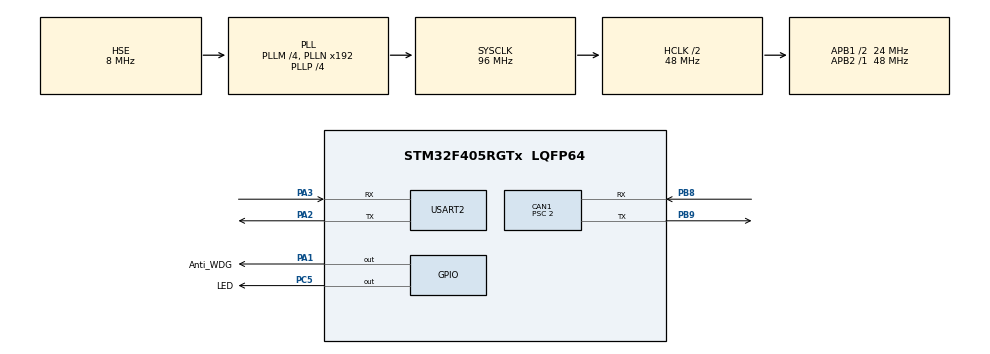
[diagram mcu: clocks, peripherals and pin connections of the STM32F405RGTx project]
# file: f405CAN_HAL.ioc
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CAN1.ABOM=DISABLE
CAN1.AWUM=DISABLE
CAN1.BS1=CAN_BS1_10TQ
CAN1.CalculateBaudRate=1000000
CAN1.CalculateTimeBit=1000
CAN1.CalculateTimeQuantum=83.33333333333333
CAN1.Mode=CAN_MODE_LOOPBACK
CAN1.NART=ENABLE
CAN1.Prescaler=2
Mcu.Family=STM32F4
Mcu.Name=STM32F405RGTx
Mcu.Package=LQFP64
NVIC.CAN1_RX0_IRQn=true\:0\:0\:false\:false\:true\:true\:true\:true
NVIC.CAN1_RX1_IRQn=true\:0\:0\:false\:false\:true\:true\:true\:true
NVIC.CAN1_SCE_IRQn=true\:0\:0\:false\:false\:true\:true\:true\:true
NVIC.CAN1_TX_IRQn=true\:0\:0\:false\:false\:true\:true\:true\:true
NVIC.PriorityGroup=NVIC_PRIORITYGROUP_4
PA1.GPIO_Label=Anti_WDG
PA1.Signal=GPIO_Output
PA13.Mode=Serial_Wire
PA13.Signal=SYS_JTMS-SWDIO
PA14.Mode=Serial_Wire
PA14.Signal=SYS_JTCK-SWCLK
PA2.Mode=Asynchronous
PA2.Signal=USART2_TX
PA3.Mode=Asynchronous
PA3.Signal=USART2_RX
PB8.Mode=CAN_Activate
PB8.Signal=CAN1_RX
PB9.Mode=CAN_Activate
PB9.Signal=CAN1_TX
PC5.GPIO_Label=LED
PC5.Signal=GPIO_Output
PH0-OSC_IN.Mode=HSE-External-Oscillator
PH0-OSC_IN.Signal=RCC_OSC_IN
PH1-OSC_OUT.Mode=HSE-External-Oscillator
PH1-OSC_OUT.Signal=RCC_OSC_OUT
ProjectManager.HeapSize=0x200
ProjectManager.StackSize=0x400
ProjectManager.TargetToolchain=STM32CubeIDE
RCC.48MHZClocksFreq_Value=96000000
RCC.AHBCLKDivider=RCC_SYSCLK_DIV2
RCC.AHBFreq_Value=48000000
RCC.APB1CLKDivider=RCC_HCLK_DIV2
RCC.APB1Freq_Value=24000000
RCC.APB1TimFreq_Value=48000000
RCC.APB2Freq_Value=48000000
RCC.APB2TimFreq_Value=48000000
RCC.CortexFreq_Value=48000000
RCC.HCLKFreq_Value=48000000
RCC.HSE_VALUE=8000000
RCC.HSI_VALUE=16000000
RCC.LSE_VALUE=32768
RCC.PLLM=4
RCC.PLLP=RCC_PLLP_DIV4
RCC.PLLSourceVirtual=RCC_PLLSOURCE_HSE
RCC.SYSCLKFreq_VALUE=96000000
RCC.SYSCLKSource=RCC_SYSCLKSOURCE_PLLCLK
RCC.VCOOutputFreq_Value=384000000
USART2.VirtualMode=VM_ASYNC
board=custom

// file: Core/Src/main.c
/* USER CODE BEGIN Header */
/**
 ******************************************************************************
 * @file           : main.c
 * @brief          : Main program body
 ******************************************************************************
 * @attention
 *
 * Copyright (c) 2024 STMicroelectronics.
 * All rights reserved.
 *
 * This software is licensed under terms that can be found in the LICENSE file
 * in the root directory of this software component.
 * If no LICENSE file comes with this software, it is provided AS-IS.
 *
 ******************************************************************************
 */
/* USER CODE END Header */
#include "main.h"

/* USER CODE BEGIN Includes */
#include <stdio.h>
/* USER CODE END Includes */

CAN_HandleTypeDef hcan1;

UART_HandleTypeDef huart2;

/* USER CODE BEGIN PV */

uint8_t checkTx = 0;
uint8_t checkRx = 0;

uint8_t success_msg[30] = "Receive successfully\n";
uint8_t fail_msg[30] = "Receive fail\n";
char msg[30];
char trans_fail[30] = "Transmit fail\n";
uint8_t rx_msg[8];
/* USER CODE END PV */

void SystemClock_Config(void);
static void MX_GPIO_Init(void);
static void MX_CAN1_Init(void);
static void MX_USART2_UART_Init(void);
/* USER CODE BEGIN PFP */
void CAN_Tx();
void CAN_Rx();
void CAN_Filter_Config();
// void HAL_CAN_RxCpltCallback(CAN_HandleTypeDef* hcan)
//{
//	HAL_GPIO_TogglePin(GPIOC, GPIO_PIN_3); //neu nhan duoc byte tin hieu thi led 2 sang
//
// }
/* USER CODE END PFP */

int main(void)
{

  /* MCU Configuration--------------------------------------------------------*/

  /* Reset of all peripherals, Initializes the Flash interface and the Systick. */
  HAL_Init();

  /* Configure the system clock */
  SystemClock_Config();

  /* Initialize all configured peripherals */
  MX_GPIO_Init();
  MX_CAN1_Init();
  MX_USART2_UART_Init();
  /* USER CODE BEGIN 2 */

  CAN_Filter_Config();

  if (HAL_CAN_ActivateNotification(&hcan1, CAN_IT_TX_MAILBOX_EMPTY | CAN_IT_RX_FIFO0_MSG_PENDING | CAN_IT_BUSOFF) != HAL_OK)
  {
    Error_Handler();
  }

  if (HAL_CAN_Start(&hcan1) != HAL_OK)
  {
    Error_Handler();
  }
  /* USER CODE END 2 */

  /* Infinite loop */
  /* USER CODE BEGIN WHILE */
  while (1)
  {

    CAN_Tx();

    // Watchdog
    HAL_GPIO_WritePin(GPIOA, GPIO_PIN_1, 1);
    HAL_Delay(200);
    HAL_GPIO_WritePin(GPIOA, GPIO_PIN_1, 0);
    HAL_Delay(1000);

    /* USER CODE END WHILE */

  }
}

void SystemClock_Config(void)
{
  RCC_OscInitTypeDef RCC_OscInitStruct = {0};
  RCC_ClkInitTypeDef RCC_ClkInitStruct = {0};

  /** Configure the main internal regulator output voltage
  */
  __HAL_RCC_PWR_CLK_ENABLE();
  __HAL_PWR_VOLTAGESCALING_CONFIG(PWR_REGULATOR_VOLTAGE_SCALE1);

  /** Initializes the RCC Oscillators according to the specified parameters
  * in the RCC_OscInitTypeDef structure.
  */
  RCC_OscInitStruct.OscillatorType = RCC_OSCILLATORTYPE_HSE;
  RCC_OscInitStruct.HSEState = RCC_HSE_ON;
  RCC_OscInitStruct.PLL.PLLState = RCC_PLL_ON;
  RCC_OscInitStruct.PLL.PLLSource = RCC_PLLSOURCE_HSE;
  RCC_OscInitStruct.PLL.PLLM = 4;
  RCC_OscInitStruct.PLL.PLLN = 192;
  RCC_OscInitStruct.PLL.PLLP = RCC_PLLP_DIV4;
  RCC_OscInitStruct.PLL.PLLQ = 4;
  if (HAL_RCC_OscConfig(&RCC_OscInitStruct) != HAL_OK)
  {
    Error_Handler();
  }

  /** Initializes the CPU, AHB and APB buses clocks
  */
  RCC_ClkInitStruct.ClockType = RCC_CLOCKTYPE_HCLK|RCC_CLOCKTYPE_SYSCLK
                              |RCC_CLOCKTYPE_PCLK1|RCC_CLOCKTYPE_PCLK2;
  RCC_ClkInitStruct.SYSCLKSource = RCC_SYSCLKSOURCE_PLLCLK;
  RCC_ClkInitStruct.AHBCLKDivider = RCC_SYSCLK_DIV2;
  RCC_ClkInitStruct.APB1CLKDivider = RCC_HCLK_DIV2;
  RCC_ClkInitStruct.APB2CLKDivider = RCC_HCLK_DIV1;

  if (HAL_RCC_ClockConfig(&RCC_ClkInitStruct, FLASH_LATENCY_1) != HAL_OK)
  {
    Error_Handler();
  }
}

static void MX_CAN1_Init(void)
{

  hcan1.Instance = CAN1;
  hcan1.Init.Prescaler = 2;
  hcan1.Init.Mode = CAN_MODE_LOOPBACK;
  hcan1.Init.SyncJumpWidth = CAN_SJW_1TQ;
  hcan1.Init.TimeSeg1 = CAN_BS1_10TQ;
  hcan1.Init.TimeSeg2 = CAN_BS2_1TQ;
  hcan1.Init.TimeTriggeredMode = DISABLE;
  hcan1.Init.AutoBusOff = DISABLE;
  hcan1.Init.AutoWakeUp = DISABLE;
  hcan1.Init.AutoRetransmission = ENABLE;
  hcan1.Init.ReceiveFifoLocked = DISABLE;
  hcan1.Init.TransmitFifoPriority = DISABLE;
  if (HAL_CAN_Init(&hcan1) != HAL_OK)
  {
    Error_Handler();
  }
  /* USER CODE BEGIN CAN1_Init 2 */
  HAL_NVIC_SetPriority(CAN1_TX_IRQn, 15, 0);
  HAL_NVIC_SetPriority(CAN1_RX0_IRQn, 15, 0);
  HAL_NVIC_SetPriority(CAN1_RX1_IRQn, 15, 0);
  HAL_NVIC_SetPriority(CAN1_SCE_IRQn, 15, 0);

  HAL_NVIC_EnableIRQ(CAN1_TX_IRQn);
  HAL_NVIC_EnableIRQ(CAN1_RX0_IRQn);
  HAL_NVIC_EnableIRQ(CAN1_RX1_IRQn);
  HAL_NVIC_EnableIRQ(CAN1_SCE_IRQn);
  /* USER CODE END CAN1_Init 2 */

}

static void MX_USART2_UART_Init(void)
{

  huart2.Instance = USART2;
  huart2.Init.BaudRate = 115200;
  huart2.Init.WordLength = UART_WORDLENGTH_8B;
  huart2.Init.StopBits = UART_STOPBITS_1;
  huart2.Init.Parity = UART_PARITY_NONE;
  huart2.Init.Mode = UART_MODE_TX_RX;
  huart2.Init.HwFlowCtl = UART_HWCONTROL_NONE;
  huart2.Init.OverSampling = UART_OVERSAMPLING_16;
  if (HAL_UART_Init(&huart2) != HAL_OK)
  {
    Error_Handler();
  }

}

static void MX_GPIO_Init(void)
{
  GPIO_InitTypeDef GPIO_InitStruct = {0};

  /* GPIO Ports Clock Enable */
  __HAL_RCC_GPIOH_CLK_ENABLE();
  __HAL_RCC_GPIOA_CLK_ENABLE();
  __HAL_RCC_GPIOC_CLK_ENABLE();
  __HAL_RCC_GPIOB_CLK_ENABLE();

  /*Configure GPIO pin Output Level */
  HAL_GPIO_WritePin(Anti_WDG_GPIO_Port, Anti_WDG_Pin, GPIO_PIN_RESET);

  /*Configure GPIO pin Output Level */
  HAL_GPIO_WritePin(LED_GPIO_Port, LED_Pin, GPIO_PIN_RESET);

  /*Configure GPIO pin : Anti_WDG_Pin */
  GPIO_InitStruct.Pin = Anti_WDG_Pin;
  GPIO_InitStruct.Mode = GPIO_MODE_OUTPUT_PP;
  GPIO_InitStruct.Pull = GPIO_NOPULL;
  GPIO_InitStruct.Speed = GPIO_SPEED_FREQ_LOW;
  HAL_GPIO_Init(Anti_WDG_GPIO_Port, &GPIO_InitStruct);

  /*Configure GPIO pin : LED_Pin */
  GPIO_InitStruct.Pin = LED_Pin;
  GPIO_InitStruct.Mode = GPIO_MODE_OUTPUT_PP;
  GPIO_InitStruct.Pull = GPIO_NOPULL;
  GPIO_InitStruct.Speed = GPIO_SPEED_FREQ_LOW;
  HAL_GPIO_Init(LED_GPIO_Port, &GPIO_InitStruct);

}

/* USER CODE BEGIN 4 */
void CAN_Tx()
{
  CAN_TxHeaderTypeDef txHeader;
  uint8_t my_msg[8] = {0, 1, 2, 3, 4, 5, 6, 7};
  uint32_t canMailbox; // CAN Bus Mail box variable
  txHeader.DLC = 8;
  txHeader.IDE = CAN_ID_STD;
  txHeader.RTR = CAN_RTR_DATA;
  txHeader.StdId = 0x123;
  if (HAL_CAN_AddTxMessage(&hcan1, &txHeader, my_msg, &canMailbox) != HAL_OK)
  {

    Error_Handler();
  }
  //  while (HAL_CAN_IsTxMessagePending(&hcan1, canMailbox))
  //    ; // polling
}

void CAN_Rx()
{
  CAN_RxHeaderTypeDef rxHeader;

  while (!HAL_CAN_GetRxFifoFillLevel(&hcan1, CAN_RX_FIFO0))
  {
    HAL_UART_Transmit(&huart2, fail_msg, 30, 1000);
    HAL_Delay(2000);
  }
  if (HAL_CAN_GetRxMessage(&hcan1, CAN_RX_FIFO0, &rxHeader, rx_msg) != HAL_OK)
  {
    Error_Handler();
  }

  HAL_UART_Transmit(&huart2, success_msg, 30, 1000);
}

void CAN_Filter_Config()
{
  CAN_FilterTypeDef can1_filter_init;
  can1_filter_init.FilterMode = CAN_FILTERMODE_IDMASK;
  can1_filter_init.FilterBank = 0;
  can1_filter_init.FilterScale = CAN_FILTERSCALE_32BIT;
  can1_filter_init.FilterIdHigh = 0x0000;
  can1_filter_init.FilterIdLow = 0;
  can1_filter_init.FilterMaskIdHigh = 0;
  can1_filter_init.FilterMaskIdLow = 0;
  can1_filter_init.FilterFIFOAssignment = CAN_FILTER_FIFO0;
  can1_filter_init.FilterActivation = ENABLE;
  HAL_CAN_ConfigFilter(&hcan1, &can1_filter_init);
}

void HAL_CAN_TxMailbox0CompleteCallback(CAN_HandleTypeDef *hcan)
{
  sprintf(msg, "Transmit successfully M0\n");
  HAL_UART_Transmit(&huart2, (uint8_t *)msg, 30, 1000);
}
void HAL_CAN_TxMailbox1CompleteCallback(CAN_HandleTypeDef *hcan)
{
  sprintf(msg, "Transmit successfully M1\n");
  HAL_UART_Transmit(&huart2, (uint8_t *)msg, 30, 1000);
}
void HAL_CAN_TxMailbox2CompleteCallback(CAN_HandleTypeDef *hcan)
{
  sprintf(msg, "Transmit successfully M2\n");
  HAL_UART_Transmit(&huart2, (uint8_t *)msg, 30, 1000);
}
void HAL_CAN_RxFifo0MsgPendingCallback(CAN_HandleTypeDef *hcan)
{
  CAN_RxHeaderTypeDef rxHeader;

  if (HAL_CAN_GetRxMessage(&hcan1, CAN_RX_FIFO0, &rxHeader, rx_msg) != HAL_OK)
  {
    sprintf(msg, "Receive Fail\n");
    HAL_UART_Transmit(&huart2, (uint8_t *)msg, 30, 1000);
  }
  else
  {
    sprintf(msg, "Receive Successfully\n");
    HAL_UART_Transmit(&huart2, (uint8_t *)msg, 30, 1000);
  }
  HAL_GPIO_TogglePin(GPIOC, GPIO_PIN_5);
}
 void HAL_CAN_ErrorCallback(CAN_HandleTypeDef *hcan)
{
	sprintf(msg, "Error happen\n");
	  HAL_UART_Transmit(&huart2, (uint8_t*)msg, 30, 1000);
 }
/* USER CODE END 4 */

void Error_Handler(void)
{
  __disable_irq();
  while (1)
  {
  }
}
